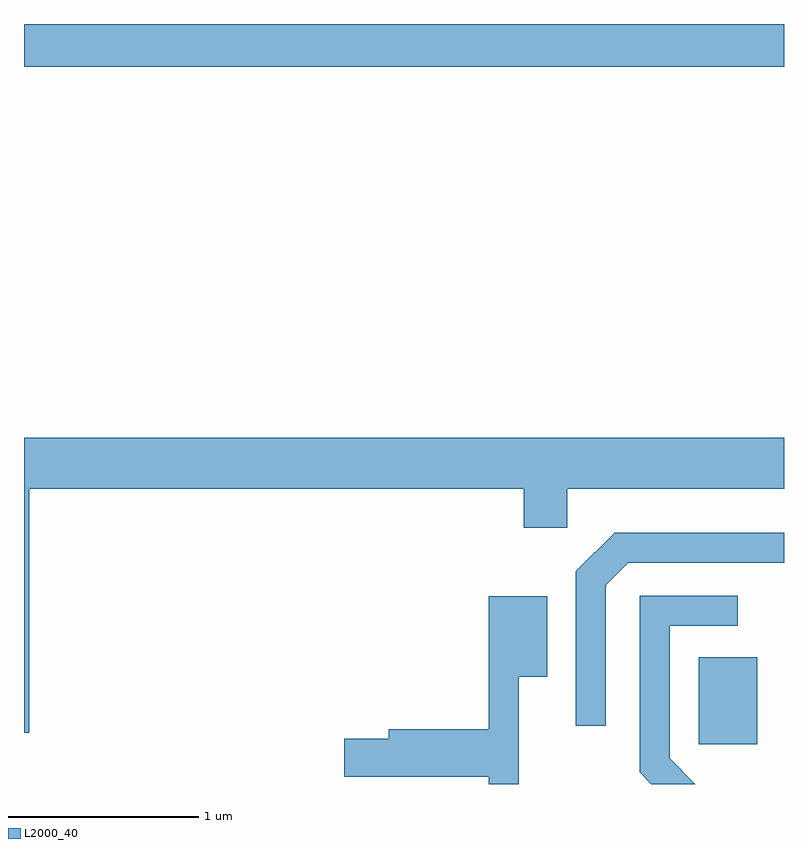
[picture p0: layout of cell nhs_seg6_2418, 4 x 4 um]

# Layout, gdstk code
import gdstk
lib = gdstk.Library(unit=1e-6, precision=1e-09)
def R(c, l, rs):  # rectangles x0, y0, x1, y1
    for r in rs: c.add(gdstk.rectangle(r[:2], r[2:], *l))
def P(c, l, *ps):  # polygons
    for p in ps: c.add(gdstk.Polygon(p, *l))
L2000_40 = (2000, 40)

nhs_seg6_2418 = lib.new_cell('nhs_seg6_2418')
R(nhs_seg6_2418, L2000_40, [(261.161,1646.371,261.469,1646.829), (257.611,1649.936,261.611,1650.162)])
P(nhs_seg6_2418, L2000_40, [(257.639,1647.716),(260.241,1647.716),(260.241,1647.511),(260.469,1647.511),(260.469,1647.716),(261.611,1647.716),(261.611,1647.984),(257.611,1647.984),(257.611,1646.431),(257.639,1646.431)],
  [(260.674,1647.209),(260.791,1647.326),(261.611,1647.326),(261.611,1647.484),(260.719,1647.484),(260.516,1647.282),(260.516,1646.468),(260.674,1646.468)],
  [(261.009,1646.297),(261.009,1646.996),(261.368,1646.996),(261.368,1647.154),(260.851,1647.154),(260.851,1646.224),(260.913,1646.162),(261.144,1646.162)],
  [(260.214,1646.726),(260.364,1646.726),(260.364,1647.149),(260.056,1647.149),(260.056,1646.449),(259.531,1646.449),(259.531,1646.399),(259.296,1646.399),(259.296,1646.201),(260.056,1646.201),(260.056,1646.162),(260.214,1646.162)])

lib.write_gds('nhs_seg6_2418.gds')
